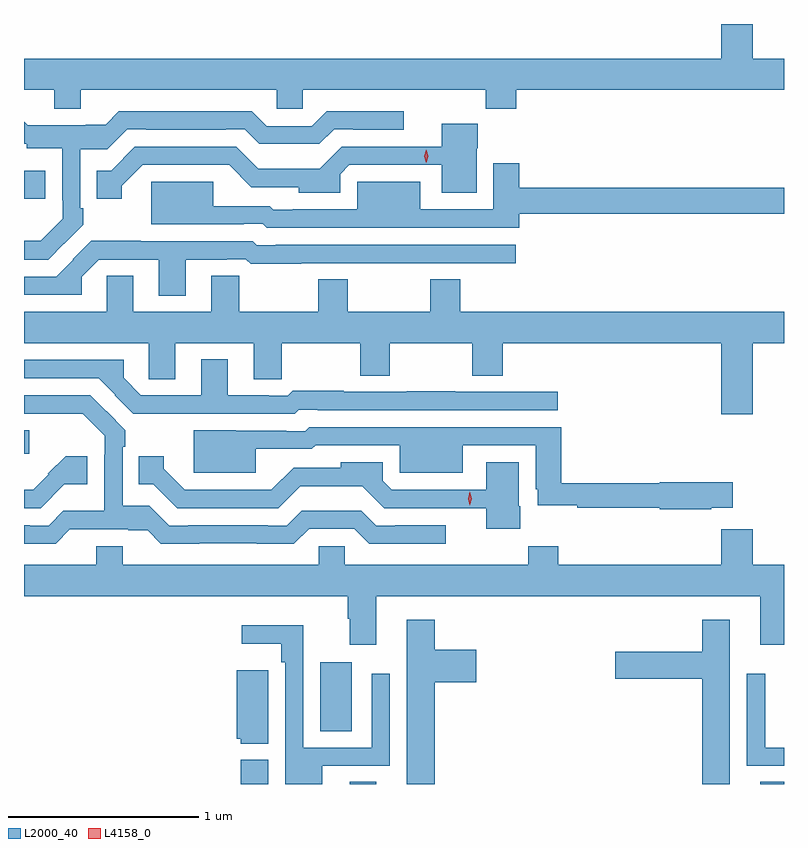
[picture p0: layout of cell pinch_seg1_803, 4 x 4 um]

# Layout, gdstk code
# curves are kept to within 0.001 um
import gdstk
lib = gdstk.Library(unit=1e-6, precision=1e-09)
def R(c, l, rs):  # rectangles x0, y0, x1, y1
    for r in rs: c.add(gdstk.rectangle(r[:2], r[2:], *l))
def P(c, l, *ps):  # polygons
    for p in ps: c.add(gdstk.Polygon(p, *l))
L2000_40 = (2000, 40)
L4158_0 = (4158, 0)

pinch_seg1_803 = lib.new_cell('pinch_seg1_803')
R(pinch_seg1_803, L2000_40, [(390.251,565.395,390.394,565.522), (390.824,565.395,390.964,565.406), (392.984,565.395,393.109,565.406), (390.668,565.672,390.835,566.035), (389.109,567.134,389.137,567.256), (389.109,568.476,389.221,568.622)])
P(pinch_seg1_803, L2000_40, [(389.407,569.048),(390.438,569.048),(390.438,568.95),(390.576,568.95),(390.576,569.048),(391.54,569.048),(391.54,568.949),(391.7,568.949),(391.7,569.048),(393.109,569.048),(393.109,569.212),(392.944,569.212),(392.944,569.395),(392.78,569.395),(392.78,569.212),(389.109,569.212),(389.109,569.048),(389.267,569.048),(389.267,568.949),(389.407,568.949)],
  [(389.321,568.24),(389.322,568.239),(389.421,568.338),(389.421,568.426),(389.406,568.426),(389.406,568.737),(389.547,568.737),(389.652,568.842),(389.752,568.842),(389.752,568.839),(390.17,568.839),(390.17,568.842),(390.27,568.842),(390.348,568.764),(390.663,568.764),(390.741,568.842),(390.841,568.842),(390.841,568.839),(391.108,568.839),(391.108,568.936),(390.703,568.936),(390.624,568.857),(390.387,568.857),(390.308,568.936),(389.608,568.936),(389.538,568.866),(389.435,568.866),(389.435,568.861),(389.129,568.861),(389.109,568.881),(389.109,568.764),(389.124,568.764),(389.124,568.74),(389.31,568.74),(389.31,568.468),(389.313,568.468),(389.313,568.369),(389.197,568.253),(389.109,568.253),(389.109,568.155),(389.236,568.155)],
  [(389.623,568.543),(389.733,568.653),(390.189,568.653),(390.306,568.536),(390.555,568.536),(390.555,568.508),(390.774,568.508),(390.774,568.605),(390.822,568.653),(391.307,568.653),(391.307,568.508),(391.492,568.508),(391.492,568.74),(391.498,568.74),(391.498,568.87),(391.307,568.87),(391.307,568.749),(390.782,568.749),(390.666,568.633),(390.341,568.633),(390.225,568.749),(389.693,568.749),(389.567,568.623),(389.491,568.623),(389.491,568.476),(389.623,568.476)],
  [(391.715,568.396),(393.109,568.396),(393.109,568.532),(391.715,568.532),(391.715,568.663),(391.58,568.663),(391.58,568.419),(391.195,568.419),(391.195,568.564),(390.864,568.564),(390.864,568.419),(390.523,568.419),(390.523,568.417),(390.422,568.417),(390.402,568.437),(390.106,568.437),(390.106,568.564),(389.78,568.564),(389.78,568.34),(390.266,568.341),(390.266,568.344),(390.366,568.344),(390.387,568.323),(391.715,568.323)],
  [(389.959,568.155),(390.176,568.155),(390.176,568.158),(390.276,568.158),(390.302,568.132),(390.569,568.132),(390.569,568.137),(390.901,568.137),(390.901,568.135),(391.157,568.135),(391.157,568.137),(391.696,568.137),(391.696,568.233),(390.433,568.233),(390.433,568.23),(390.333,568.23),(390.312,568.251),(389.723,568.251),(389.723,568.254),(389.463,568.254),(389.365,568.156),(389.368,568.153),(389.28,568.065),(389.109,568.065),(389.109,567.969),(389.412,567.969),(389.412,568.065),(389.502,568.155),(389.819,568.155),(389.819,567.966),(389.959,567.966)],
  [(391.406,568.052),(391.246,568.052),(391.246,567.88),(390.813,567.88),(390.813,568.052),(390.658,568.052),(390.658,567.88),(390.243,567.88),(390.243,568.07),(390.095,568.07),(390.095,567.88),(389.683,567.88),(389.683,568.07),(389.544,568.07),(389.544,567.88),(389.109,567.88),(389.109,567.716),(389.766,567.716),(389.766,567.526),(389.905,567.526),(389.905,567.716),(390.317,567.716),(390.317,567.526),(390.465,567.526),(390.465,567.716),(390.88,567.716),(390.88,567.544),(391.035,567.544),(391.035,567.716),(391.468,567.716),(391.468,567.544),(391.628,567.544),(391.628,567.716),(392.78,567.716),(392.78,567.342),(392.944,567.342),(392.944,567.716),(393.109,567.716),(393.109,567.88),(391.406,567.88)],
  [(389.945,567.345),(390.534,567.345),(390.555,567.366),(390.655,567.366),(390.655,567.363),(391.918,567.363),(391.918,567.459),(391.379,567.459),(391.379,567.462),(391.123,567.462),(391.123,567.459),(390.791,567.459),(390.791,567.464),(390.524,567.464),(390.498,567.438),(390.398,567.438),(390.398,567.441),(390.181,567.441),(390.181,567.631),(390.041,567.631),(390.041,567.441),(389.724,567.441),(389.634,567.532),(389.634,567.627),(389.109,567.627),(389.109,567.531),(389.502,567.531),(389.59,567.443),(389.587,567.44),(389.685,567.343),(389.945,567.343)],
  [(389.351,566.735),(389.657,566.735),(389.657,566.731),(389.76,566.731),(389.83,566.66),(390.53,566.66),(390.609,566.739),(390.846,566.739),(390.925,566.66),(391.33,566.66),(391.33,566.757),(391.063,566.757),(391.063,566.754),(390.963,566.754),(390.885,566.832),(390.57,566.832),(390.492,566.754),(390.392,566.754),(390.392,566.757),(389.974,566.757),(389.974,566.754),(389.874,566.754),(389.769,566.859),(389.628,566.859),(389.628,567.17),(389.643,567.17),(389.643,567.258),(389.458,567.441),(389.109,567.441),(389.109,567.345),(389.315,567.345),(389.315,567.343),(389.419,567.343),(389.535,567.227),(389.535,567.128),(389.532,567.128),(389.531,566.832),(389.316,566.832),(389.238,566.754),(389.138,566.754),(389.138,566.757),(389.109,566.757),(389.109,566.66),(389.276,566.66)],
  [(392.726,566.849),(392.839,566.849),(392.839,566.984),(392.454,566.984),(392.454,566.978),(391.937,566.978),(391.937,567.273),(390.609,567.273),(390.588,567.252),(390.488,567.252),(390.488,567.255),(390.002,567.256),(390.002,567.032),(390.328,567.032),(390.328,567.159),(390.624,567.159),(390.644,567.179),(390.745,567.179),(390.745,567.177),(391.086,567.177),(391.086,567.032),(391.417,567.032),(391.417,567.177),(391.802,567.177),(391.802,566.946),(391.814,566.946),(391.814,566.861),(392.02,566.861),(392.02,566.85),(392.454,566.85),(392.454,566.842),(392.726,566.842)],
  [(391.72,566.856),(391.714,566.856),(391.714,567.088),(391.541,567.088),(391.541,566.943),(391.044,566.943),(390.996,566.991),(390.996,567.088),(390.777,567.088),(390.777,567.06),(390.528,567.06),(390.411,566.943),(389.955,566.943),(389.845,567.053),(389.845,567.121),(389.713,567.121),(389.713,566.973),(389.789,566.973),(389.915,566.847),(390.447,566.847),(390.563,566.963),(390.888,566.963),(391.004,566.847),(391.541,566.847),(391.541,566.738),(391.72,566.738)],
  [(389.322,566.972),(389.443,566.972),(389.443,567.121),(389.329,567.121),(389.235,567.027),(389.238,567.024),(389.157,566.943),(389.109,566.943),(389.109,566.847),(389.197,566.847)],
  [(390.964,566.384),(392.984,566.384),(392.984,566.127),(393.109,566.127),(393.109,566.548),(392.944,566.548),(392.944,566.737),(392.78,566.737),(392.78,566.548),(391.922,566.548),(391.922,566.647),(391.762,566.647),(391.762,566.548),(390.798,566.548),(390.798,566.646),(390.66,566.646),(390.66,566.548),(389.629,566.548),(389.629,566.647),(389.489,566.647),(389.489,566.548),(389.109,566.548),(389.109,566.384),(390.812,566.384),(390.812,566.264),(390.824,566.264),(390.824,566.127),(390.964,566.127)],
  [(392.824,566.26),(392.678,566.26),(392.678,566.091),(392.22,566.091),(392.22,565.949),(392.678,565.949),(392.678,565.395),(392.824,565.395)],
  [(391.271,565.931),(391.489,565.931),(391.489,566.101),(391.271,566.101),(391.271,566.26),(391.124,566.26),(391.124,565.395),(391.271,565.395)],
  [(390.679,565.491),(391.035,565.491),(391.035,565.975),(390.939,565.975),(390.939,565.587),(390.579,565.587),(390.579,566.23),(390.255,566.23),(390.255,566.132),(390.463,566.132),(390.463,566.036),(390.483,566.036),(390.483,565.395),(390.679,565.395)],
  [(390.394,565.993),(390.23,565.993),(390.23,565.632),(390.249,565.632),(390.249,565.607),(390.394,565.607)],
  [(393.109,565.587),(393.009,565.587),(393.009,565.975),(392.913,565.975),(392.913,565.491),(393.109,565.491)])
P(pinch_seg1_803, L4158_0, [(391.456,566.861),(391.456,566.862),(391.446,566.897),(391.456,566.932),(391.456,566.932),(391.456,566.932),(391.466,566.897),(391.456,566.862)],
  [(391.226,568.664),(391.226,568.664),(391.216,568.699),(391.227,568.734),(391.227,568.734),(391.227,568.734),(391.236,568.699),(391.226,568.664)])

lib.write_gds('pinch_seg1_803.gds')
